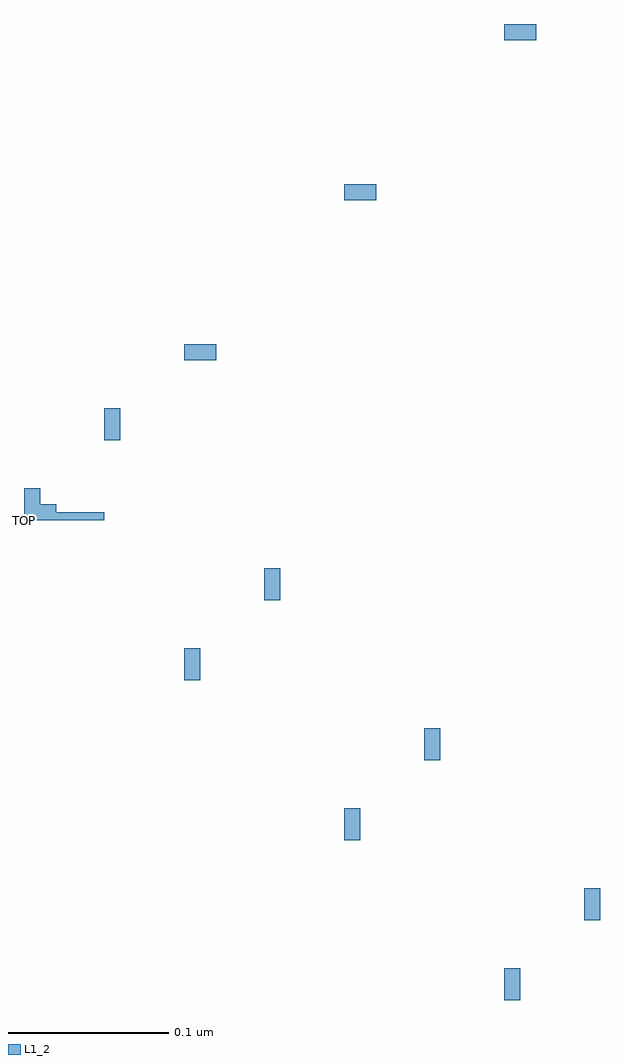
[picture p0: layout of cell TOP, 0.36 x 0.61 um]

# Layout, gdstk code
import gdstk
lib = gdstk.Library(unit=1e-6, precision=1e-09)
def R(c, l, rs):  # rectangles x0, y0, x1, y1
    for r in rs: c.add(gdstk.rectangle(r[:2], r[2:], *l))
L1_2 = (1, 2)

c_a = lib.new_cell('A')
R(c_a, L1_2, [(0.3,-0.3,0.31,-0.28), (0.2,-0.2,0.21,-0.18), (0.1,-0.1,0.11,-0.08), (0,0,0.01,0.02)])
c_a.add(gdstk.Label('A', (0,0), layer=2, texttype=1))
c_a.add(gdstk.Label('A', (0.1,-0.1), layer=2, texttype=1))
c_a.add(gdstk.Label('A', (0.2,-0.2), layer=2, texttype=1))
c_a.add(gdstk.Label('A', (0.3,-0.3), layer=2, texttype=1))

c_b = lib.new_cell('B')
R(c_b, L1_2, [(0,0,0.02,0.01), (0.1,0.1,0.12,0.11), (0.2,0.2,0.22,0.21), (0.3,0.3,0.32,0.31)])
c_b.add(gdstk.Reference(c_a, (0,0)))
c_b.add(gdstk.Reference(c_a, (0.05,0.05)))
c_b.add(gdstk.Label('B', (0,0), layer=2, texttype=1))
c_b.add(gdstk.Label('B', (0.1,0.1), layer=2, texttype=1))
c_b.add(gdstk.Label('B', (0.2,0.2), layer=2, texttype=1))
c_b.add(gdstk.Label('B', (0.3,0.3), layer=2, texttype=1))

top = lib.new_cell('TOP')
R(top, L1_2, [(0,0,0.05,0.005)])
top.add(gdstk.Reference(c_b, (0,0)))
top.add(gdstk.Label('TOP', (0,0), layer=2, texttype=1))

lib.write_gds('TOP.gds')
